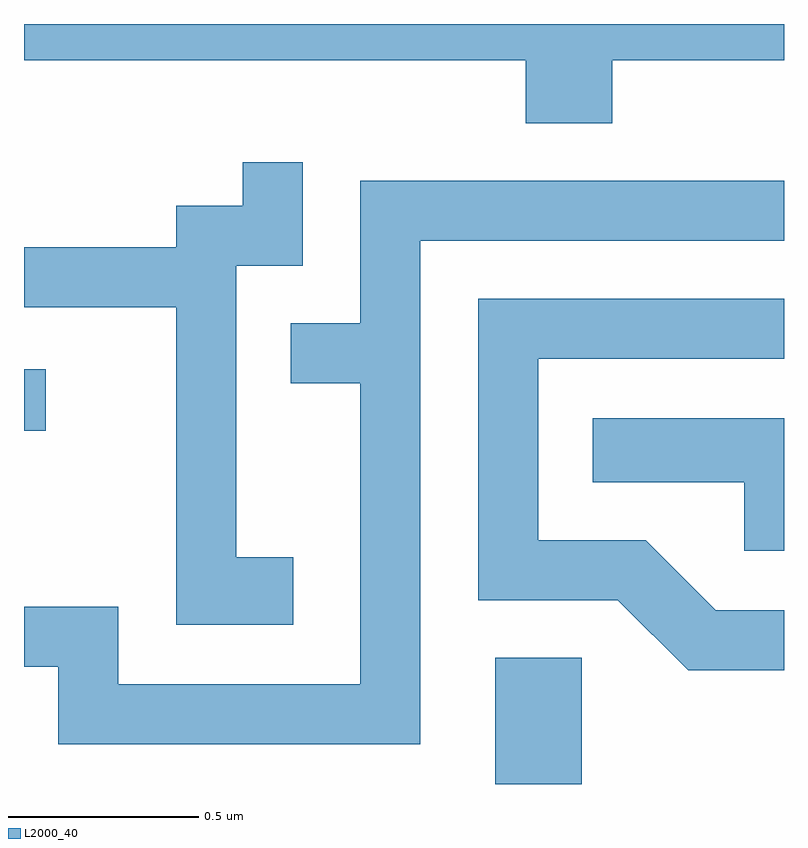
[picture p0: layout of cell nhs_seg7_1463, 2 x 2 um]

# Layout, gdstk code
import gdstk
lib = gdstk.Library(unit=1e-6, precision=1e-09)
def R(c, l, rs):  # rectangles x0, y0, x1, y1
    for r in rs: c.add(gdstk.rectangle(r[:2], r[2:], *l))
def P(c, l, *ps):  # polygons
    for p in ps: c.add(gdstk.Polygon(p, *l))
L2000_40 = (2000, 40)

nhs_seg7_1463 = lib.new_cell('nhs_seg7_1463')
R(nhs_seg7_1463, L2000_40, [(196.851,1761.252,197.079,1761.584), (195.611,1762.181,195.668,1762.344)])
P(nhs_seg7_1463, L2000_40, [(197.159,1763.156),(197.611,1763.156),(197.611,1763.252),(195.611,1763.252),(195.611,1763.156),(196.931,1763.156),(196.931,1762.991),(197.159,1762.991)],
  [(196.319,1761.849),(196.169,1761.849),(196.169,1762.616),(196.344,1762.616),(196.344,1762.888),(196.186,1762.888),(196.186,1762.774),(196.011,1762.774),(196.011,1762.664),(195.611,1762.664),(195.611,1762.506),(196.011,1762.506),(196.011,1761.671),(196.319,1761.671)],
  [(196.654,1762.681),(197.611,1762.681),(197.611,1762.839),(196.496,1762.839),(196.496,1762.464),(196.313,1762.464),(196.313,1762.306),(196.496,1762.306),(196.496,1761.514),(195.859,1761.514),(195.859,1761.719),(195.611,1761.719),(195.611,1761.561),(195.701,1761.561),(195.701,1761.356),(196.654,1761.356)],
  [(197.611,1761.709),(197.432,1761.709),(197.247,1761.894),(196.964,1761.894),(196.964,1762.371),(197.611,1762.371),(197.611,1762.529),(196.806,1762.529),(196.806,1761.736),(197.174,1761.736),(197.359,1761.551),(197.611,1761.551)],
  [(197.611,1762.214),(197.108,1762.214),(197.108,1762.046),(197.506,1762.046),(197.506,1761.866),(197.611,1761.866)])

lib.write_gds('nhs_seg7_1463.gds')
